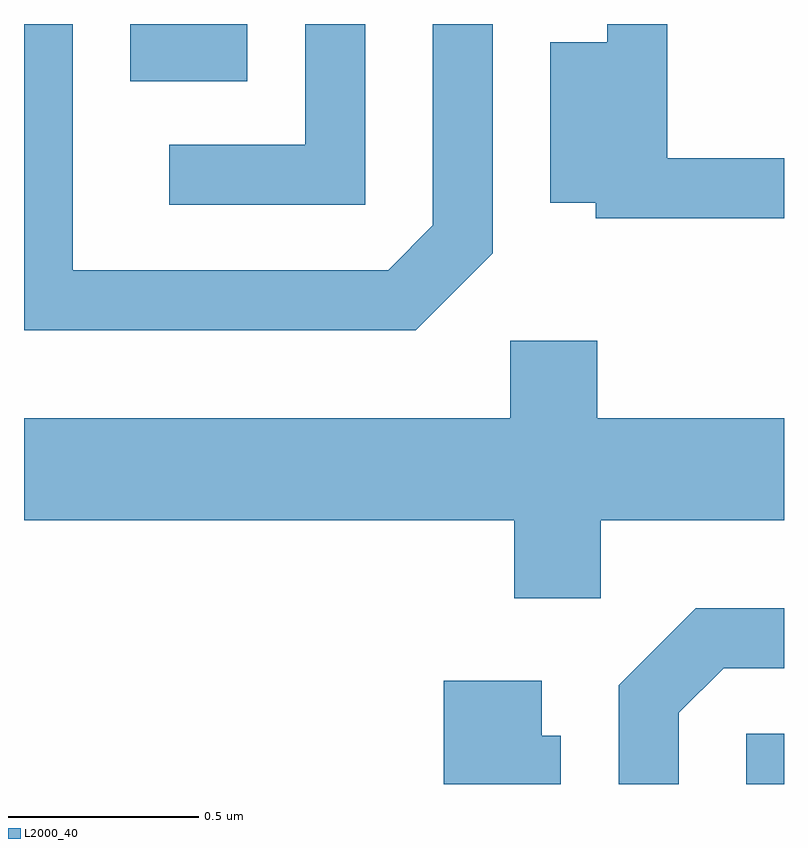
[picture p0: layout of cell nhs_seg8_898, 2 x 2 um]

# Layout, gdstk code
import gdstk
lib = gdstk.Library(unit=1e-6, precision=1e-09)
def R(c, l, rs):  # rectangles x0, y0, x1, y1
    for r in rs: c.add(gdstk.rectangle(r[:2], r[2:], *l))
def P(c, l, *ps):  # polygons
    for p in ps: c.add(gdstk.Polygon(p, *l))
L2000_40 = (2000, 40)

nhs_seg8_898 = lib.new_cell('nhs_seg8_898')
R(nhs_seg8_898, L2000_40, [(193.511,1882.342,193.611,1882.474), (191.891,1884.191,192.199,1884.342)])
P(nhs_seg8_898, L2000_40, [(193.611,1883.989),(193.304,1883.989),(193.304,1884.342),(193.146,1884.342),(193.146,1884.294),(192.996,1884.294),(192.996,1883.871),(193.116,1883.871),(193.116,1883.831),(193.611,1883.831)],
  [(192.509,1884.342),(192.351,1884.342),(192.351,1884.024),(191.993,1884.024),(191.993,1883.866),(192.509,1883.866)],
  [(192.844,1883.739),(192.844,1884.342),(192.686,1884.342),(192.686,1883.812),(192.569,1883.694),(191.739,1883.694),(191.739,1884.342),(191.611,1884.342),(191.611,1883.536),(192.642,1883.536)],
  [(193.129,1883.036),(193.611,1883.036),(193.611,1883.304),(193.119,1883.304),(193.119,1883.509),(192.891,1883.509),(192.891,1883.304),(191.611,1883.304),(191.611,1883.036),(192.901,1883.036),(192.901,1882.831),(193.129,1882.831)],
  [(193.334,1882.529),(193.452,1882.646),(193.611,1882.646),(193.611,1882.804),(193.379,1882.804),(193.176,1882.602),(193.176,1882.342),(193.334,1882.342)],
  [(193.024,1882.469),(192.974,1882.469),(192.974,1882.614),(192.716,1882.614),(192.716,1882.342),(193.024,1882.342)])

lib.write_gds('nhs_seg8_898.gds')
